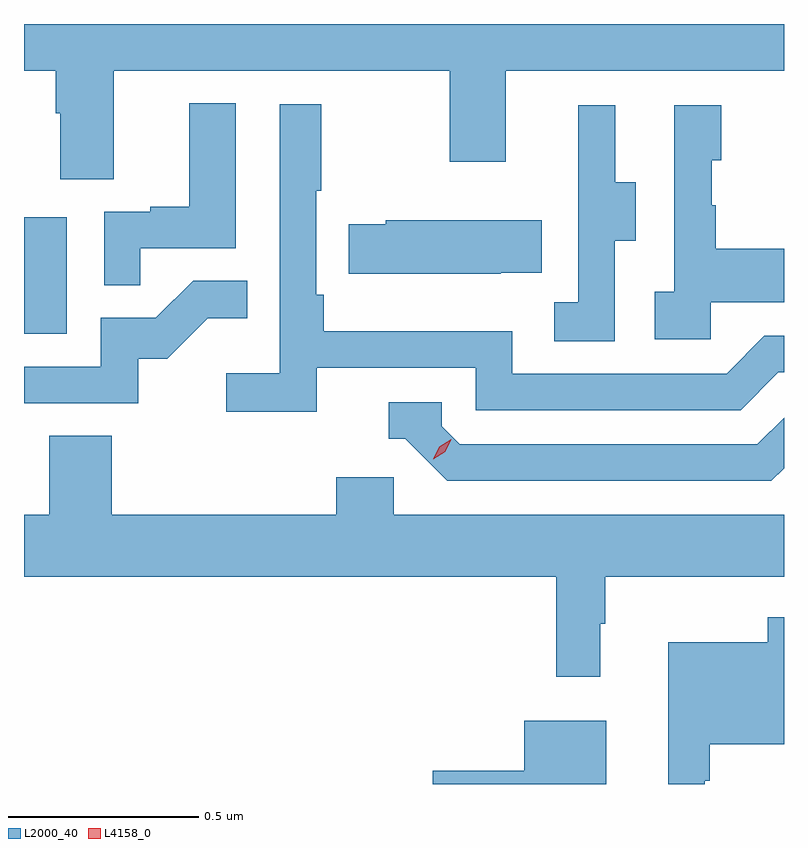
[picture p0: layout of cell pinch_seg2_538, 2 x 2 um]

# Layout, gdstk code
import gdstk
lib = gdstk.Library(unit=1e-6, precision=1e-09)
def R(c, l, rs):  # rectangles x0, y0, x1, y1
    for r in rs: c.add(gdstk.rectangle(r[:2], r[2:], *l))
def P(c, l, *ps):  # polygons
    for p in ps: c.add(gdstk.Polygon(p, *l))
L2000_40 = (2000, 40)
L4158_0 = (4158, 0)

pinch_seg2_538 = lib.new_cell('pinch_seg2_538')
R(pinch_seg2_538, L2000_40, [(994.097,602.988,994.21,603.295)])
P(pinch_seg2_538, L2000_40, [(994.097,603.68),(994.181,603.68),(994.181,603.568),(994.193,603.568),(994.193,603.394),(994.333,603.394),(994.333,603.68),(995.218,603.68),(995.218,603.441),(995.365,603.441),(995.365,603.68),(996.097,603.68),(996.097,603.803),(994.097,603.803)],
  [(994.403,603.213),(994.654,603.213),(994.654,603.595),(994.532,603.595),(994.532,603.322),(994.429,603.322),(994.429,603.309),(994.308,603.309),(994.308,603.115),(994.403,603.115)],
  [(994.868,602.898),(995.286,602.898),(995.286,602.787),(995.983,602.787),(996.082,602.886),(996.097,602.886),(996.097,602.982),(996.045,602.982),(995.946,602.883),(995.382,602.883),(995.382,602.995),(994.886,602.995),(994.886,603.091),(994.866,603.091),(994.866,603.364),(994.879,603.364),(994.879,603.592),(994.77,603.592),(994.77,602.884),(994.629,602.884),(994.629,602.782),(994.868,602.782)],
  [(995.652,603.232),(995.707,603.232),(995.707,603.387),(995.653,603.387),(995.653,603.589),(995.555,603.589),(995.555,603.375),(995.556,603.375),(995.556,603.071),(995.493,603.071),(995.493,602.968),(995.652,602.968)],
  [(995.904,603.071),(996.097,603.071),(996.097,603.211),(995.917,603.211),(995.917,603.326),(995.907,603.326),(995.907,603.444),(995.932,603.444),(995.932,603.589),(995.808,603.589),(995.808,603.098),(995.757,603.098),(995.757,602.973),(995.904,602.973)],
  [(995.351,603.149),(995.459,603.149),(995.459,603.286),(995.049,603.286),(995.049,603.276),(994.951,603.276),(994.951,603.146),(995.351,603.146)],
  [(994.398,602.922),(994.474,602.922),(994.581,603.029),(994.685,603.029),(994.685,603.128),(994.542,603.128),(994.444,603.03),(994.299,603.03),(994.299,602.901),(994.097,602.901),(994.097,602.805),(994.398,602.805)],
  [(996.097,602.634),(996.097,602.767),(996.027,602.697),(995.244,602.697),(995.196,602.745),(995.196,602.808),(995.057,602.808),(995.057,602.712),(995.1,602.712),(995.211,602.601),(996.064,602.601)],
  [(995.614,602.225),(995.626,602.225),(995.626,602.348),(996.097,602.348),(996.097,602.512),(995.07,602.512),(995.07,602.61),(994.919,602.61),(994.919,602.512),(994.328,602.512),(994.328,602.72),(994.163,602.72),(994.163,602.512),(994.097,602.512),(994.097,602.348),(995.497,602.348),(995.497,602.085),(995.614,602.085)],
  [(995.889,601.811),(995.902,601.811),(995.902,601.907),(996.097,601.907),(996.097,602.242),(996.054,602.242),(996.054,602.176),(995.792,602.176),(995.792,601.803),(995.889,601.803)],
  [(995.629,601.969),(995.414,601.969),(995.414,601.838),(995.172,601.838),(995.172,601.803),(995.629,601.803)])
P(pinch_seg2_538, L4158_0, [(995.174,602.657),(995.174,602.658),(995.19,602.69),(995.221,602.71),(995.221,602.71),(995.221,602.71),(995.205,602.677),(995.174,602.657)])

lib.write_gds('pinch_seg2_538.gds')
